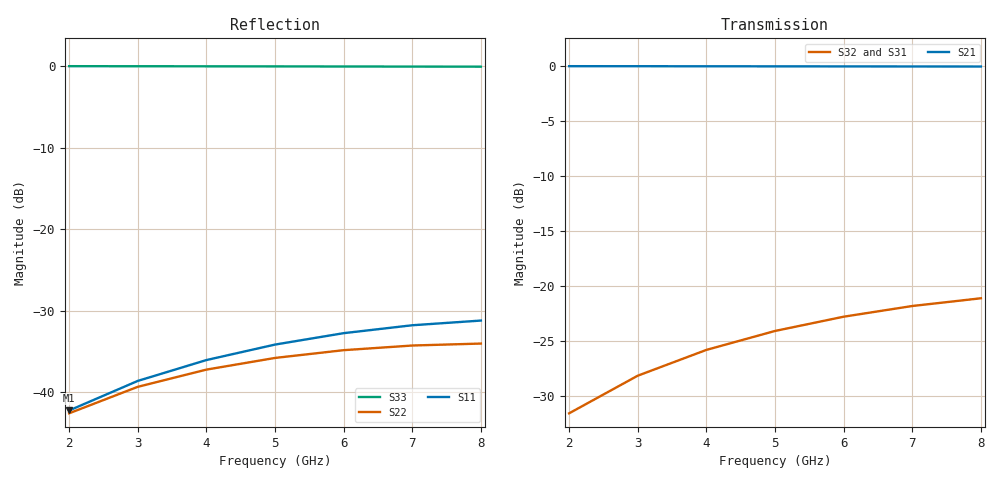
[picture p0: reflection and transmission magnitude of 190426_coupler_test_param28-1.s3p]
! Sonnet Data File
! From: emgraph Version : 16.56
! From Project: 190426_coupler_test
! Data is De-embedded
! Data File Written: 05/06/2019 15:59:44
!< HDATE 04/25/2019 10:48:44
!< MDATE 04/25/2019 10:59:35
!< PARAMS
!< tandelta = 0.0
!< t_aSi = 0.25
!< W = 10.0
!< Lcoupler = 2700.0
!< END PARAMS
# GHZ S MA R 50.0 !  non standard terminations in data
! TERM 50.00000 0.000000 50.00000 0.000000 63.84000 0.000000
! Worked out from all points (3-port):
!   7 points, 2 GHz to 8 GHz, reference 50 ohm
!   strongest paths, dB at 2 GHz, 3 GHz, 5 GHz, 7 GHz, 8 GHz:
!     S21: 0.0, 0.0, 0.0, 0.0, 0.0
!     S32: -31.5, -28.1, -24.1, -21.8, -21.1
!     S31: -31.6, -28.2, -24.2, -22.0, -21.3
!   lowest |S11| = -42.3 dB at 2 GHz (marker M1), VSWR 1.02, Z = 50.2 + j0.733 ohm
!   |S11| at or under -10 dB: start of sweep to end of sweep
2  0.00771 71.1  0.9996 -21.7  0.02637 47.7
   0.9996 -21.7  0.007408 70.2  0.02646 72.9
   0.02637 47.7  0.02646 72.9  0.9993 -38.0
3  0.01171 60.6  0.9992 -32.6  0.03895 26.6
   0.9992 -32.6  0.01077 60.4  0.03921 64.2
   0.03895 26.6  0.03921 64.2  0.9985 -57.1
4  0.01572 49.2  0.9986 -43.4  0.05078 5.4
   0.9986 -43.4  0.01373 50.6  0.05136 55.4
   0.05078 5.4  0.05136 55.4  0.9974 -76.3
5  0.01956 36.8  0.9979 -54.3  0.06165 -15.8
   0.9979 -54.3  0.0162 40.8  0.06262 46.5
   0.06165 -15.8  0.06262 46.5  0.9961 -95.5
6  0.02298 23.5  0.9972 -65.1  0.07129 -37.0
   0.9972 -65.1  0.01808 31.1  0.07269 37.5
   0.07129 -37.0  0.07269 37.5  0.9948 -114.9
7  0.0257 9.4  0.9965 -75.9  0.07951 -58.3
   0.9965 -75.9  0.0193 21.5  0.0813 28.3
   0.07951 -58.3  0.0813 28.3  0.9935 -134.3
8  0.02747 -5.4  0.9959 -86.7  0.08608 -79.6
   0.9959 -86.7  0.01985 12.0  0.08815 19.0
   0.08608 -79.6  0.08815 19.0  0.9924 -153.8
